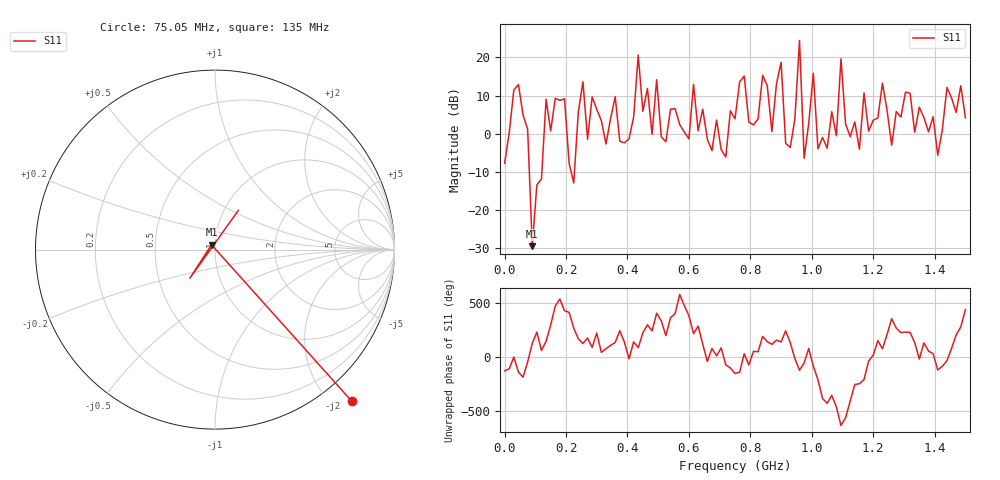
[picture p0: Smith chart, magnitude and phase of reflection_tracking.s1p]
! Created with skrf 1.8.0 (http://scikit-rf.org).
# Hz S RI R 50.0
!freq ReS11 ImS11
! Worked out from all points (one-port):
!   101 points, 50 kHz to 1.5 GHz, reference 50 ohm
!   lowest |S11| = -29.5 dB at 90.05 MHz (marker M1), VSWR 1.07, Z = 48 + j2.62 ohm
!   |S11| at or under -10 dB: 80.49 MHz to 121.4 MHz (40.91 MHz wide, 40.5 % of centre); 216.4 MHz to 227.4 MHz (11 MHz wide, 4.96 % of centre)
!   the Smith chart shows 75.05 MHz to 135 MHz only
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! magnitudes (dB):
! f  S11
! 50 kHz  -7.8
! 45.05 MHz  12.9
! 75.05 MHz  1.1
! 90.05 MHz  -29.5
! 135 MHz  9.0
! 195 MHz  9.1
! 225 MHz  -12.9
! 255 MHz  13.6
! 375 MHz  -2.0
! 435 MHz  20.6
! 480 MHz  -0.2
! 495 MHz  14.1
! 570 MHz  2.4
! 750 MHz  3.9
! 840 MHz  15.3
! 870 MHz  0.6
! 900 MHz  18.7
! 915 MHz  -2.6
! 945 MHz  4.0
! 960 MHz  24.4
! 975 MHz  -6.4
! 1.005 GHz  15.8
! 1.02 GHz  -4.0
! 1.08 GHz  -0.6
! 1.095 GHz  19.6
! 1.125 GHz  -0.8
! 1.32 GHz  10.6
! 1.5 GHz  4.2
